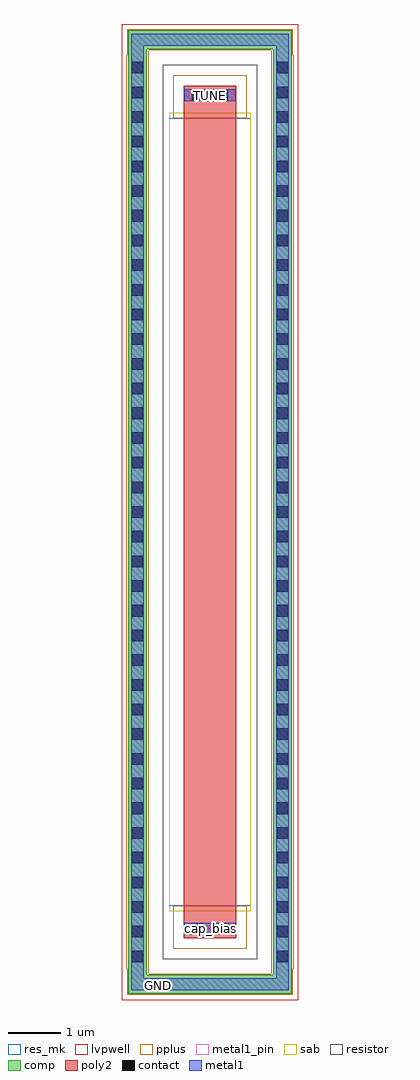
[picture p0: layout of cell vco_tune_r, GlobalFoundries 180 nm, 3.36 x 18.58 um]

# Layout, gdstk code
import gdstk
lib = gdstk.Library(unit=1e-6, precision=1e-09)
def R(c, l, rs):  # rectangles x0, y0, x1, y1
    for r in rs: c.add(gdstk.rectangle(r[:2], r[2:], *l))
def A(c, l, x, y, w, h, nx, ny, dx, dy):  # array of equal rectangles
    R(c, l, [(x+i*dx, y+j*dy, x+i*dx+w, y+j*dy+h) for i in range(nx) for j in range(ny)])
comp = (22, 0)
poly2 = (30, 0)
pplus = (31, 0)
contact = (33, 0)
metal1 = (34, 0)
metal1_pin = (34, 10)
sab = (49, 0)
resistor = (62, 0)
res_mk = (110, 5)
lvpwell = (204, 0)

vco_tune_r = lib.new_cell('vco_tune_r')
R(vco_tune_r, comp, [(-0.18,-0.18,2.94,0.18), (-0.18,0.18,0.18,17.8), (2.58,0.18,2.94,17.8), (-0.18,17.8,2.94,18.16)])
R(vco_tune_r, poly2, [(0.88,0.88,1.88,17.1)])
R(vco_tune_r, pplus, [(-0.2,-0.2,2.96,0.2), (-0.2,0.2,0.21,0.305), (2.55,0.2,2.96,0.305), (-0.21,0.305,0.21,17.675), (2.55,0.305,2.97,17.675), (0.68,0.68,2.08,1.49), (0.68,16.49,2.08,17.3), (-0.2,17.675,0.21,17.78), (2.55,17.675,2.96,17.78), (-0.2,17.78,2.96,18.18)])
A(vco_tune_r, contact, -0.11, 0.42, 0.22, 0.22, 1, 37, 0, 0.47)
A(vco_tune_r, contact, 2.65, 0.42, 0.22, 0.22, 1, 37, 0, 0.47)
R(vco_tune_r, contact, [(1.035,0.95,1.255,1.17), (1.505,0.95,1.725,1.17), (1.035,16.81,1.255,17.03), (1.505,16.81,1.725,17.03)])
R(vco_tune_r, metal1, [(-0.115,-0.115,2.875,0.115), (-0.115,0.115,0.115,17.865), (2.645,0.115,2.875,17.865), (0.89,0.945,1.87,1.175), (0.89,16.805,1.87,17.035), (-0.115,17.865,2.875,18.095)])
R(vco_tune_r, metal1_pin, [(0.2,-0.1,0.6,0.06), (1.2,1,1.56,1.12), (1.2,16.86,1.56,16.98)])
R(vco_tune_r, sab, [(0.6,1.39,2.16,16.59), (0.6,1.49,2.16,16.49)])
R(vco_tune_r, resistor, [(0.48,0.48,2.28,17.5)])
R(vco_tune_r, res_mk, [(0.6,1.49,2.16,16.49), (0.88,1.49,1.88,16.49)])
R(vco_tune_r, lvpwell, [(-0.3,-0.3,3.06,18.28)])
vco_tune_r.add(gdstk.Label('TUNE', (1.38,16.92), layer=34, texttype=10))
vco_tune_r.add(gdstk.Label('cap_bias', (1.38,1.06), layer=34, texttype=10))
vco_tune_r.add(gdstk.Label('GND', (0.4,-0.02), layer=34, texttype=10))

lib.write_gds('vco_tune_r.gds')
